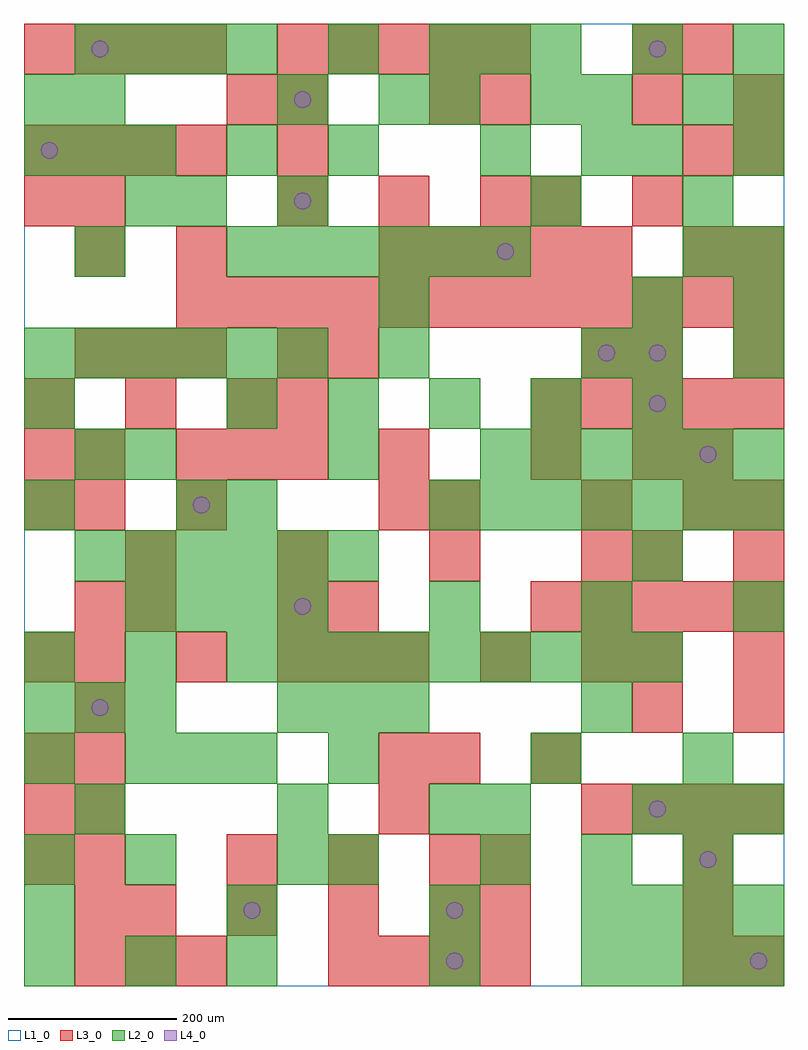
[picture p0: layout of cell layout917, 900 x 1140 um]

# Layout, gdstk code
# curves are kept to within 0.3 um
import gdstk
lib = gdstk.Library(unit=1e-6, precision=1e-09)
def R(c, l, rs):  # rectangles x0, y0, x1, y1
    for r in rs: c.add(gdstk.rectangle(r[:2], r[2:], *l))
def A(c, l, x, y, w, h, nx, ny, dx, dy):  # array of equal rectangles
    R(c, l, [(x+i*dx, y+j*dy, x+i*dx+w, y+j*dy+h) for i in range(nx) for j in range(ny)])
def P(c, l, *ps):  # polygons
    for p in ps: c.add(gdstk.Polygon(p, *l))
L1_0 = (1, 0)
L2_0 = (2, 0)
L3_0 = (3, 0)
L4_0 = (4, 0)

layout917 = lib.new_cell('layout917')
R(layout917, L1_0, [(0,0,900,1140)])
A(layout917, L2_0, 0, 0, 60, 60, 3, 2, 120, 360)
A(layout917, L2_0, 660, 0, 60, 60, 4, 2, 60, 60)
A(layout917, L2_0, 0, 60, 60, 60, 3, 1, 240, 0)
A(layout917, L2_0, 540, 120, 60, 60, 3, 1, 120, 0)
A(layout917, L2_0, 720, 180, 60, 60, 3, 1, 60, 0)
A(layout917, L2_0, 120, 240, 60, 60, 3, 1, 60, 0)
A(layout917, L2_0, 360, 240, 60, 60, 1, 3, 0, 360)
A(layout917, L2_0, 0, 300, 60, 60, 3, 2, 60, 660)
A(layout917, L2_0, 300, 300, 60, 60, 3, 1, 60, 0)
A(layout917, L2_0, 300, 360, 60, 60, 8, 1, 60, 0)
A(layout917, L2_0, 120, 420, 60, 60, 4, 1, 60, 0)
A(layout917, L2_0, 480, 420, 60, 60, 3, 1, 180, 0)
A(layout917, L2_0, 60, 480, 60, 60, 6, 1, 60, 0)
A(layout917, L2_0, 480, 540, 60, 60, 7, 1, 60, 0)
A(layout917, L2_0, 540, 600, 60, 60, 6, 1, 60, 0)
A(layout917, L2_0, 240, 660, 60, 60, 5, 1, 120, 0)
A(layout917, L2_0, 0, 720, 60, 60, 6, 1, 60, 0)
A(layout917, L2_0, 840, 720, 60, 60, 1, 3, 0, 60)
A(layout917, L2_0, 240, 840, 60, 60, 6, 1, 60, 0)
A(layout917, L2_0, 840, 960, 60, 60, 1, 3, 0, 60)
A(layout917, L2_0, 60, 1080, 60, 60, 4, 1, 60, 0)
A(layout917, L2_0, 480, 1080, 60, 60, 3, 1, 60, 0)
R(layout917, L2_0, [(480,0,540,60), (0,120,60,180), (120,120,180,180), (300,120,360,180), (360,120,420,180), (60,180,120,240), (300,180,360,240), (480,180,540,240), (540,180,600,240), (0,240,60,300), (600,240,660,300), (780,240,840,300), (660,300,720,360), (720,480,780,540), (0,540,60,600), (180,540,240,600), (240,540,300,600), (60,600,120,660), (120,600,180,660), (0,660,60,720), (420,720,480,780), (660,720,720,780), (720,720,780,780), (420,780,480,840), (720,780,780,840), (60,840,120,900), (780,840,840,900), (120,900,180,960), (180,900,240,960), (300,900,360,960), (600,900,660,960), (780,900,840,960), (240,960,300,1020), (540,960,600,1020), (660,960,720,1020), (720,960,780,1020), (0,1020,60,1080), (60,1020,120,1080), (300,1020,360,1080), (420,1020,480,1080), (480,1020,540,1080), (600,1020,660,1080), (660,1020,720,1080), (780,1020,840,1080), (360,1080,420,1140), (720,1080,780,1140)])
A(layout917, L3_0, 60, 0, 60, 60, 3, 2, 60, 720)
A(layout917, L3_0, 360, 0, 60, 60, 4, 1, 60, 0)
A(layout917, L3_0, 780, 0, 60, 60, 1, 3, 0, 60)
A(layout917, L3_0, 60, 60, 60, 60, 1, 5, 0, 60)
A(layout917, L3_0, 120, 60, 60, 60, 4, 1, 120, 0)
A(layout917, L3_0, 0, 120, 60, 60, 1, 3, 0, 60)
A(layout917, L3_0, 240, 120, 60, 60, 3, 1, 120, 0)
A(layout917, L3_0, 660, 180, 60, 60, 4, 1, 60, 0)
A(layout917, L3_0, 60, 360, 60, 60, 3, 1, 120, 0)
A(layout917, L3_0, 420, 360, 60, 60, 3, 1, 120, 0)
A(layout917, L3_0, 720, 360, 60, 60, 1, 4, 0, 120)
A(layout917, L3_0, 600, 420, 60, 60, 5, 2, 60, 240)
A(layout917, L3_0, 120, 480, 60, 60, 4, 1, 180, 0)
A(layout917, L3_0, 180, 600, 60, 60, 3, 1, 60, 0)
A(layout917, L3_0, 0, 660, 60, 60, 3, 1, 120, 0)
A(layout917, L3_0, 840, 720, 60, 60, 1, 3, 0, 120)
A(layout917, L3_0, 180, 780, 60, 60, 12, 1, 60, 0)
A(layout917, L3_0, 420, 840, 60, 60, 5, 1, 60, 0)
A(layout917, L3_0, 780, 840, 60, 60, 1, 3, 0, 120)
A(layout917, L3_0, 300, 900, 60, 60, 3, 1, 120, 0)
A(layout917, L3_0, 0, 960, 60, 60, 4, 2, 60, 120)
A(layout917, L3_0, 300, 1080, 60, 60, 5, 1, 60, 0)
R(layout917, L3_0, [(840,0,900,60), (540,60,600,120), (540,120,600,180), (420,180,480,240), (420,240,480,300), (480,240,540,300), (600,240,660,300), (720,300,780,360), (840,300,900,360), (0,360,60,420), (360,360,420,420), (840,360,900,420), (60,420,120,480), (120,420,180,480), (300,420,360,480), (360,420,420,480), (840,480,900,540), (0,540,60,600), (60,540,120,600), (180,540,240,600), (420,540,480,600), (480,540,540,600), (660,540,720,600), (780,540,840,600), (840,540,900,600), (0,600,60,660), (60,600,120,660), (420,600,480,660), (600,600,660,660), (780,600,840,660), (300,660,360,720), (300,720,360,780), (360,720,420,780), (660,720,720,780), (60,840,120,900), (180,840,240,900), (0,900,60,960), (60,900,120,960), (600,900,660,960), (720,900,780,960), (300,960,360,1020), (240,1020,300,1080), (300,1020,360,1080), (480,1020,540,1080), (540,1020,600,1080), (720,1020,780,1080), (840,1020,900,1080), (720,1080,780,1140)])
P(layout917, L4_0, [(40,990),(39.239,993.827),(37.071,997.071),(33.827,999.239),(30,1000),(26.173,999.239),(22.929,997.071),(20.761,993.827),(20,990),(20.761,986.173),(22.929,982.929),(26.173,980.761),(30,980),(33.827,980.761),(37.071,982.929),(39.239,986.173)],
  [(100,330),(99.239,333.827),(97.071,337.071),(93.827,339.239),(90,340),(86.173,339.239),(82.929,337.071),(80.761,333.827),(80,330),(80.761,326.173),(82.929,322.929),(86.173,320.761),(90,320),(93.827,320.761),(97.071,322.929),(99.239,326.173)],
  [(100,1110),(99.239,1113.827),(97.071,1117.071),(93.827,1119.239),(90,1120),(86.173,1119.239),(82.929,1117.071),(80.761,1113.827),(80,1110),(80.761,1106.173),(82.929,1102.929),(86.173,1100.761),(90,1100),(93.827,1100.761),(97.071,1102.929),(99.239,1106.173)],
  [(220,570),(219.239,573.827),(217.071,577.071),(213.827,579.239),(210,580),(206.173,579.239),(202.929,577.071),(200.761,573.827),(200,570),(200.761,566.173),(202.929,562.929),(206.173,560.761),(210,560),(213.827,560.761),(217.071,562.929),(219.239,566.173)],
  [(280,90),(279.239,93.827),(277.071,97.071),(273.827,99.239),(270,100),(266.173,99.239),(262.929,97.071),(260.761,93.827),(260,90),(260.761,86.173),(262.929,82.929),(266.173,80.761),(270,80),(273.827,80.761),(277.071,82.929),(279.239,86.173)],
  [(340,450),(339.239,453.827),(337.071,457.071),(333.827,459.239),(330,460),(326.173,459.239),(322.929,457.071),(320.761,453.827),(320,450),(320.761,446.173),(322.929,442.929),(326.173,440.761),(330,440),(333.827,440.761),(337.071,442.929),(339.239,446.173)],
  [(340,930),(339.239,933.827),(337.071,937.071),(333.827,939.239),(330,940),(326.173,939.239),(322.929,937.071),(320.761,933.827),(320,930),(320.761,926.173),(322.929,922.929),(326.173,920.761),(330,920),(333.827,920.761),(337.071,922.929),(339.239,926.173)],
  [(340,1050),(339.239,1053.827),(337.071,1057.071),(333.827,1059.239),(330,1060),(326.173,1059.239),(322.929,1057.071),(320.761,1053.827),(320,1050),(320.761,1046.173),(322.929,1042.929),(326.173,1040.761),(330,1040),(333.827,1040.761),(337.071,1042.929),(339.239,1046.173)],
  [(520,30),(519.239,33.827),(517.071,37.071),(513.827,39.239),(510,40),(506.173,39.239),(502.929,37.071),(500.761,33.827),(500,30),(500.761,26.173),(502.929,22.929),(506.173,20.761),(510,20),(513.827,20.761),(517.071,22.929),(519.239,26.173)],
  [(520,90),(519.239,93.827),(517.071,97.071),(513.827,99.239),(510,100),(506.173,99.239),(502.929,97.071),(500.761,93.827),(500,90),(500.761,86.173),(502.929,82.929),(506.173,80.761),(510,80),(513.827,80.761),(517.071,82.929),(519.239,86.173)],
  [(580,870),(579.239,873.827),(577.071,877.071),(573.827,879.239),(570,880),(566.173,879.239),(562.929,877.071),(560.761,873.827),(560,870),(560.761,866.173),(562.929,862.929),(566.173,860.761),(570,860),(573.827,860.761),(577.071,862.929),(579.239,866.173)],
  [(700,750),(699.239,753.827),(697.071,757.071),(693.827,759.239),(690,760),(686.173,759.239),(682.929,757.071),(680.761,753.827),(680,750),(680.761,746.173),(682.929,742.929),(686.173,740.761),(690,740),(693.827,740.761),(697.071,742.929),(699.239,746.173)],
  [(760,210),(759.239,213.827),(757.071,217.071),(753.827,219.239),(750,220),(746.173,219.239),(742.929,217.071),(740.761,213.827),(740,210),(740.761,206.173),(742.929,202.929),(746.173,200.761),(750,200),(753.827,200.761),(757.071,202.929),(759.239,206.173)],
  [(760,690),(759.239,693.827),(757.071,697.071),(753.827,699.239),(750,700),(746.173,699.239),(742.929,697.071),(740.761,693.827),(740,690),(740.761,686.173),(742.929,682.929),(746.173,680.761),(750,680),(753.827,680.761),(757.071,682.929),(759.239,686.173)],
  [(760,750),(759.239,753.827),(757.071,757.071),(753.827,759.239),(750,760),(746.173,759.239),(742.929,757.071),(740.761,753.827),(740,750),(740.761,746.173),(742.929,742.929),(746.173,740.761),(750,740),(753.827,740.761),(757.071,742.929),(759.239,746.173)],
  [(760,1110),(759.239,1113.827),(757.071,1117.071),(753.827,1119.239),(750,1120),(746.173,1119.239),(742.929,1117.071),(740.761,1113.827),(740,1110),(740.761,1106.173),(742.929,1102.929),(746.173,1100.761),(750,1100),(753.827,1100.761),(757.071,1102.929),(759.239,1106.173)],
  [(820,150),(819.239,153.827),(817.071,157.071),(813.827,159.239),(810,160),(806.173,159.239),(802.929,157.071),(800.761,153.827),(800,150),(800.761,146.173),(802.929,142.929),(806.173,140.761),(810,140),(813.827,140.761),(817.071,142.929),(819.239,146.173)],
  [(820,630),(819.239,633.827),(817.071,637.071),(813.827,639.239),(810,640),(806.173,639.239),(802.929,637.071),(800.761,633.827),(800,630),(800.761,626.173),(802.929,622.929),(806.173,620.761),(810,620),(813.827,620.761),(817.071,622.929),(819.239,626.173)],
  [(880,30),(879.239,33.827),(877.071,37.071),(873.827,39.239),(870,40),(866.173,39.239),(862.929,37.071),(860.761,33.827),(860,30),(860.761,26.173),(862.929,22.929),(866.173,20.761),(870,20),(873.827,20.761),(877.071,22.929),(879.239,26.173)])

lib.write_gds('layout917.gds')
